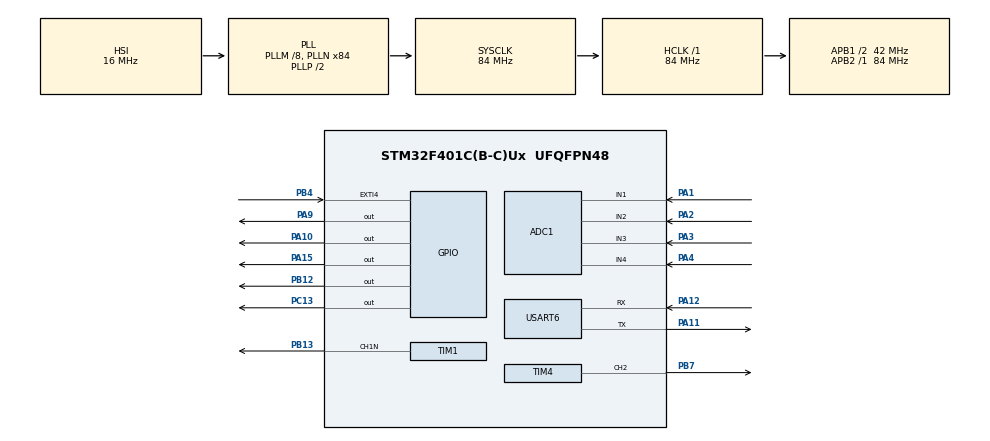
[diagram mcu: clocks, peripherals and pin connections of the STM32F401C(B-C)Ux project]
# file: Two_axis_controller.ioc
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ADC1.Channel-0\#ChannelRegularConversion=ADC_CHANNEL_1
ADC1.Channel-5\#ChannelRegularConversion=ADC_CHANNEL_2
ADC1.Channel-6\#ChannelRegularConversion=ADC_CHANNEL_3
ADC1.Channel-7\#ChannelRegularConversion=ADC_CHANNEL_4
ADC1.ContinuousConvMode=ENABLE
ADC1.DMAContinuousRequests=ENABLE
ADC1.DiscontinuousConvMode=DISABLE
ADC1.InjNumberOfConversion=0
ADC1.NbrOfConversion=4
ADC1.NbrOfConversionFlag=1
ADC1.Rank-0\#ChannelRegularConversion=1
ADC1.Rank-5\#ChannelRegularConversion=2
ADC1.Rank-6\#ChannelRegularConversion=3
ADC1.Rank-7\#ChannelRegularConversion=4
ADC1.SamplingTime-0\#ChannelRegularConversion=ADC_SAMPLETIME_28CYCLES
ADC1.SamplingTime-5\#ChannelRegularConversion=ADC_SAMPLETIME_28CYCLES
ADC1.SamplingTime-6\#ChannelRegularConversion=ADC_SAMPLETIME_28CYCLES
ADC1.SamplingTime-7\#ChannelRegularConversion=ADC_SAMPLETIME_28CYCLES
ADC1.ScanConvMode=ENABLE
ADC1.master=1
Dma.ADC1.0.Direction=DMA_PERIPH_TO_MEMORY
Dma.ADC1.0.FIFOMode=DMA_FIFOMODE_DISABLE
Dma.ADC1.0.Instance=DMA2_Stream0
Dma.ADC1.0.MemDataAlignment=DMA_MDATAALIGN_WORD
Dma.ADC1.0.MemInc=DMA_MINC_ENABLE
Dma.ADC1.0.Mode=DMA_CIRCULAR
Dma.ADC1.0.PeriphDataAlignment=DMA_PDATAALIGN_WORD
Dma.ADC1.0.PeriphInc=DMA_PINC_DISABLE
Dma.ADC1.0.Priority=DMA_PRIORITY_MEDIUM
Dma.Request0=ADC1
Mcu.Family=STM32F4
Mcu.Name=STM32F401C(B-C)Ux
Mcu.Package=UFQFPN48
NVIC.DMA2_Stream0_IRQn=true\:0\:0\:false\:false\:true\:false\:true\:true
NVIC.EXTI4_IRQn=true\:1\:0\:true\:false\:true\:true\:true\:true
NVIC.PriorityGroup=NVIC_PRIORITYGROUP_4
NVIC.TIM3_IRQn=true\:1\:0\:true\:false\:true\:true\:true\:true
NVIC.TIM5_IRQn=true\:0\:0\:false\:false\:true\:true\:true\:true
NVIC.USART6_IRQn=true\:0\:0\:false\:false\:true\:true\:true\:true
PA0-WKUP.Mode=SYS_WakeUp0
PA0-WKUP.Signal=SYS_WKUP
PA1.Signal=ADCx_IN1
PA10.Signal=GPIO_Output
PA11.Mode=Asynchronous
PA11.Signal=USART6_TX
PA12.Mode=Asynchronous
PA12.Signal=USART6_RX
PA13.Mode=Trace_Asynchronous_SW
PA13.Signal=SYS_JTMS-SWDIO
PA14.Mode=Trace_Asynchronous_SW
PA14.Signal=SYS_JTCK-SWCLK
PA15.Signal=GPIO_Output
PA2.Signal=ADCx_IN2
PA3.Signal=ADCx_IN3
PA4.Signal=ADCx_IN4
PA9.Signal=GPIO_Output
PB12.Signal=GPIO_Output
PB13.Mode=PWM Generation1 CH1N
PB13.Signal=TIM1_CH1N
PB3.Mode=Trace_Asynchronous_SW
PB3.Signal=SYS_JTDO-SWO
PB4.GPIO_ModeDefaultEXTI=GPIO_MODE_IT_FALLING
PB4.GPIO_PuPd=GPIO_PULLUP
PB4.Signal=GPXTI4
PB7.Signal=S_TIM4_CH2
PC13-ANTI_TAMP.Signal=GPIO_Output
PC14-OSC32_IN.Mode=LSE-External-Oscillator
PC14-OSC32_IN.Signal=RCC_OSC32_IN
PC15-OSC32_OUT.Mode=LSE-External-Oscillator
PC15-OSC32_OUT.Signal=RCC_OSC32_OUT
PH0\ -\ OSC_IN.Mode=HSE-External-Oscillator
PH0\ -\ OSC_IN.Signal=RCC_OSC_IN
PH1\ -\ OSC_OUT.Mode=HSE-External-Oscillator
PH1\ -\ OSC_OUT.Signal=RCC_OSC_OUT
ProjectManager.HeapSize=0x200
ProjectManager.StackSize=0x400
ProjectManager.TargetToolchain=STM32CubeIDE
RCC.48MHZClocksFreq_Value=42000000
RCC.AHBFreq_Value=84000000
RCC.APB1CLKDivider=RCC_HCLK_DIV2
RCC.APB1Freq_Value=42000000
RCC.APB1TimFreq_Value=84000000
RCC.APB2Freq_Value=84000000
RCC.APB2TimFreq_Value=84000000
RCC.CortexFreq_Value=84000000
RCC.HCLKFreq_Value=84000000
RCC.HSE_VALUE=25000000
RCC.HSI_VALUE=16000000
RCC.PLLM=8
RCC.PLLN=84
RCC.SYSCLKFreq_VALUE=84000000
RCC.SYSCLKSource=RCC_SYSCLKSOURCE_PLLCLK
RCC.VCOOutputFreq_Value=168000000
SH.ADCx_IN1.0=ADC1_IN1,IN1
SH.ADCx_IN2.0=ADC1_IN2,IN2
SH.ADCx_IN3.0=ADC1_IN3,IN3
SH.ADCx_IN4.0=ADC1_IN4,IN4
SH.S_TIM4_CH2.0=TIM4_CH2,PWM Generation2 CH2
TIM1.Channel-PWM\ Generation1\ CH1N=TIM_CHANNEL_1
TIM1.OCNPolarity_1=TIM_OCNPOLARITY_LOW
TIM1.Period=839
TIM1.Prescaler=3
TIM3.Period=999
TIM3.Prescaler=8399
TIM4.Channel-PWM\ Generation2\ CH2=TIM_CHANNEL_2
TIM4.OCPolarity_2=TIM_OCPOLARITY_LOW
TIM4.Period=839
TIM4.Prescaler=3
TIM5.Period=221
TIM5.Prescaler=83
USART6.VirtualMode=VM_ASYNC
VP_TIM3_VS_ClockSourceINT.Mode=Internal
VP_TIM5_VS_ClockSourceINT.Mode=Internal
board=custom

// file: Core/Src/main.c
/* USER CODE BEGIN Header */
/**
  ******************************************************************************
  * @file           : main.c
  * @brief          : Main program body
  ******************************************************************************
  * @attention
  *
  * Copyright (c) 2025 STMicroelectronics.
  * All rights reserved.
  *
  * This software is licensed under terms that can be found in the LICENSE file
  * in the root directory of this software component.
  * If no LICENSE file comes with this software, it is provided AS-IS.
  *
  ******************************************************************************
  */
/* USER CODE END Header */
#include "main.h"
#include "adc.h"
#include "dma.h"
#include "tim.h"
#include "usart.h"
#include "gpio.h"

/* USER CODE BEGIN Includes */
#include <stdbool.h>
#include <stdint.h>
#include <stdio.h>
#include <math.h>
#define NUM_SAMPLES 20

/* USER CODE END Includes */

/* USER CODE BEGIN PV */
typedef struct {
    float kp;
    float ki;
    float kd;
    float prev_error;
    float integral;
} PID_Controller;

// Структура состояния корректирующего устройства
typedef struct {
    float e1; // e[n-1]
    float e2; // e[n-2]
    float y1; // y[n-1]
    float y2; // y[n-2]
} CorrectorState;

// Структура коэффициентов корректирующего устройства
typedef struct {
    float b0, b1, b2;
    float a1, a2;
} CorrectorCoefficients;

// �?нициализация коэффициентов корректирующего устройства
static inline void Corrector_Init(CorrectorCoefficients *coeffs) {
    coeffs->b0 = 1811.0f;
    coeffs->b1 = -3529.0f;
    coeffs->b2 = 1719.0f;
    coeffs->a1 = -1.188f;
    coeffs->a2 = 0.1896f;
}

PID_Controller pid1 = {1.0f, 0.001f, 1.0f, 0, 0}; // Тюнинг подбирается экспериментально
PID_Controller pid2 = {11.5f, 0.004f, 3.7f, 0, 0};

volatile bool input_mode = false;
uint32_t adc_value_ch2 = 0;
volatile uint32_t adc_values[4] = {0,0,0,0};
float smooth_adc[4] = {0};
volatile uint32_t adc_raw_avg[4] = {0};  // усреднённые значения
volatile uint32_t last_button_press = 0;
float angle_pot1, angle_pot2;
float angle_enc1, angle_enc2;
volatile float sine_angle_2 = 90;
volatile float step_angle_2 = 90;
volatile float step_time = 0;
volatile float pwm1 = 0;
volatile float pwm2 = 0;
char uart_buf[50];
volatile float tim5_itr = 0;
volatile uint8_t busy = 0;

/* USER CODE END PV */

void SystemClock_Config(void);

/* USER CODE BEGIN 0 */

float GenerateSineValue(float freq_hz, float min_val, float max_val)
{
    static float time_ms = 0.0f;

    // Амплитуда и смещение
    float amplitude = (max_val - min_val) / 2.0f;
    float offset = (max_val + min_val) / 2.0f;

    // Вычисление значения
    float radians = 2.0f * M_PI * freq_hz * (time_ms / 1000.0f);
    float sine_value = offset + amplitude * sinf(radians);

    // Увеличение времени
    time_ms += 1.0f;
    if (time_ms >= 1000.0f / freq_hz) {
        time_ms -= 1000.0f / freq_hz;  // сброс по периоду
    }

    return sine_value;
}

float GenerateStepValue(float time, float min_val, float max_val)
{

    float step_value = min_val;

    if (step_time >= 0 && step_time <= time/2){
    	step_value = min_val;
    }
    else{
    	step_value = max_val;
    }

    // Увеличение времени
    step_time += 1.0f;
    if (step_time >= time) {
    	step_time = 0;
    }

    return step_value;
}

float PID_Compute(PID_Controller* pid, float setpoint, float measured)
{
    float error = setpoint - measured;

    pid->integral += error;
    float derivative = error - pid->prev_error;
    pid->prev_error = error;

    float output = pid->kp * error + pid->ki * pid->integral + pid->kd * derivative;

    return output;
}

// Ограничение значения в диапазоне [min, max]
static inline float Clamp(float value, float min, float max) {
    if (value > max) return max;
    if (value < min) return min;
    return value;
}

// Функция обновления корректирующего устройства
static inline int16_t Corrector_Update(CorrectorCoefficients *coeffs, CorrectorState *state, float target_angle, float current_angle) {
    float error = target_angle - current_angle;

    if (error > -0.5f && error < 0.5f) {
        return 0; // Игнорируем малую ошибку, PWM = 0
    }

    // Вычисление выхода
    float output = (coeffs->b0 * error)
                 + (coeffs->b1 * state->e1)
                 + (coeffs->b2 * state->e2)
                 - (coeffs->a1 * state->y1)
                 - (coeffs->a2 * state->y2);

    // Ограничение выхода
    output = Clamp(output, -839.0f, 839.0f);

    // Обновление состояния
    state->e2 = state->e1;
    state->e1 = error;
    state->y2 = state->y1;
    state->y1 = output;

    // Возврат значения в целочисленном формате для Ш�?М
    return (int16_t)output;
}

// Мотор 1: PWM на PB13, направление на PA9
void SetDirection1(bool cw)
{
	cw = !cw;
    HAL_GPIO_WritePin(GPIOA, GPIO_PIN_9, cw ? GPIO_PIN_SET : GPIO_PIN_RESET);
}

// Мотор 2: PWM на PB7, направление на PA10
void SetDirection2(bool cw)
{
    HAL_GPIO_WritePin(GPIOA, GPIO_PIN_10, cw ? GPIO_PIN_SET : GPIO_PIN_RESET);
}

// Установка Ш�?М — ожидается значение от 0 до 839
void PWM_Motor1(uint16_t pwm_value)
{
    if (pwm_value > 839) pwm_value = 839;
    __HAL_TIM_SET_COMPARE(&htim1, TIM_CHANNEL_1, pwm_value); // таймер для PB13
}

void PWM_Motor2(uint16_t pwm_value)
{
    if (pwm_value > 839) pwm_value = 839;
    __HAL_TIM_SET_COMPARE(&htim4, TIM_CHANNEL_2, pwm_value); // таймер для PB7
}

void ControlMotor1(float target_angle)
{
    pwm1 = PID_Compute(&pid1, target_angle, angle_enc2);

}

void ControlMotor2(float target_angle)
{
    pwm2 = PID_Compute(&pid2, target_angle, angle_enc1);

}

void FilterADC(volatile uint32_t adc_input[4])
{
    static uint32_t adc_sum[4] = {0};
    static uint8_t sample_count = 0;

    for (int i = 0; i < 4; i++) {
        adc_sum[i] += adc_input[i];
    }

    sample_count++;

    if (sample_count >= NUM_SAMPLES) {
        for (int i = 0; i < 4; i++) {
            adc_raw_avg[i] = adc_sum[i] / NUM_SAMPLES;
            adc_sum[i] = 0; // сброс суммы
        }
        sample_count = 0;
    }
}

// Вход: adc_values[0] – [3]
// Выход: 4 угла в градусах
void ConvertADCToAngles(uint32_t adc_values[4], float* angle_pot1, float* angle_pot2,
                        float* angle_enc1, float* angle_enc2)
{
    // ——— Энкодер 1: диапазон 3885 шагов ≈ 337°
    const uint16_t ENC1_ZERO_POS = 2970-15;
    const uint16_t ENC1_STEPS = 3835+15;
    const float ENC1_MAX_DEGREES = 337.0f;

    // ——— Энкодер 2: диапазон 2088 шагов ≈ 183°
    const uint16_t ENC2_ZERO_POS = 4060-15;
    const uint16_t ENC2_STEPS = 2088+15;
    const float ENC2_MAX_DEGREES = 183.0f;

    // ——— Энкодер 1
    uint32_t raw_enc1 = adc_values[2];
    int32_t diff1 = (int32_t)raw_enc1 - ENC1_ZERO_POS;
    if (diff1 < 0) diff1 += 4096;
    if (diff1 > ENC1_STEPS) diff1 = ENC1_STEPS;  // ограничим
    *angle_enc1 = ((float)diff1 / ENC1_STEPS) * ENC1_MAX_DEGREES;

    // ——— Энкодер 2
    uint32_t raw_enc2 = adc_values[3];
    int32_t diff2 = (int32_t)raw_enc2 - ENC2_ZERO_POS;
    if (diff2 < 0) diff2 += 4096;
    if (diff2 > ENC2_STEPS) diff2 = ENC2_STEPS;
    *angle_enc2 = ((float)diff2 / ENC2_STEPS) * ENC2_MAX_DEGREES;

    // ——— Потенциометры по масштабу энкодеров
    float angle_pot1_tmp = adc_values[0] * (ENC1_MAX_DEGREES / 4095.0f);
	float angle_pot2_tmp = adc_values[1] * (ENC2_MAX_DEGREES / 4095.0f);

    if (angle_pot1_tmp < 10.0f){
    	*angle_pot1 = 10.0f;
    }
    else if (angle_pot1_tmp > 330.0f){
    	*angle_pot1 = 330.0f;
    }
    else *angle_pot1 = angle_pot1_tmp;

    if (angle_pot2_tmp < 8.0f){
        	*angle_pot2 = 8.0f;
    }
    else if (angle_pot2_tmp > 179.0f){
        	*angle_pot2 = 179.0f;
    }
    else *angle_pot2 = angle_pot2_tmp;

}

void HAL_GPIO_EXTI_Callback(uint16_t GPIO_Pin)
{

	if (GPIO_Pin == GPIO_PIN_4)
	  {
	    uint32_t current_time = HAL_GetTick();

	    if (current_time - last_button_press > 200) // 100 мс защита от дребезга
	    {
	    	input_mode = !input_mode;
	      last_button_press = current_time;
	    }
	  }

}

void HAL_TIM_PeriodElapsedCallback(TIM_HandleTypeDef *htim)
{

    if (htim->Instance == TIM5) {
    	tim5_itr = tim5_itr + 1;
    	if (pwm1 >= 0) {
    	        SetDirection1(true);  // CW
    	    } else {
    	        SetDirection1(false); // CCW
    	        pwm1 = -pwm1;
    	    }

    	    if (pwm1 > 839.0f) pwm1 = 839.0f;
    	    PWM_Motor1((uint16_t)pwm1);

    	    if (pwm2 >= 0) {
    	            SetDirection2(true);  // CW
    	        } else {
    	            SetDirection2(false); // CCW
    	            pwm2 = -pwm2;
    	        }

    	        if (pwm2 > 839.0f) pwm2 = 839.0f;
    	        PWM_Motor2((uint16_t)pwm2);

    }

    if (htim->Instance == TIM3) {
        	sine_angle_2 = GenerateSineValue(9.0f, 20.0f, 180.0f);
        	step_angle_2 = GenerateStepValue(55.0f, 90.0f, 180.0f);
        }
}

float ReadAngleMotor2(void) {
    return angle_enc1;
}

void CommandMotor2(float pwm) {
    if (pwm >= 0) {
        SetDirection2(true);
    } else {
        SetDirection2(false);
        pwm = -pwm;
    }
    PWM_Motor2((uint16_t)pwm);
}

void send_data(float v1, float v2) {
    int len = snprintf(uart_buf, sizeof(uart_buf), "%.3f,%.3f\r\n", v1, v2);
    HAL_UART_Transmit(&huart6, (uint8_t*)uart_buf, len, HAL_MAX_DELAY);
}

void send_data_non_blocking(float v1, float v2) {
    static char buf[50];

    if (!busy) {
        int len = snprintf(buf, sizeof(buf), "%.2f,%.2f\r\n", v1, v2);
        if (HAL_UART_Transmit_IT(&huart6, (uint8_t*)buf, len) == HAL_OK) {
            busy = 1;
        }
    }
}

// В прерывании окончания передачи:
void HAL_UART_TxCpltCallback(UART_HandleTypeDef *huart) {
    if (huart->Instance == USART6) {
        busy = 0;
    }
}

/* USER CODE END 0 */

int main(void)
{

  /* MCU Configuration--------------------------------------------------------*/

  /* Reset of all peripherals, Initializes the Flash interface and the Systick. */
  HAL_Init();

  /* Configure the system clock */
  SystemClock_Config();

  /* Initialize all configured peripherals */
  MX_GPIO_Init();
  MX_DMA_Init();
  MX_ADC1_Init();
  MX_TIM1_Init();
  MX_TIM4_Init();
  MX_TIM3_Init();
  MX_USART6_UART_Init();
  MX_TIM5_Init();
  /* USER CODE BEGIN 2 */
  HAL_TIM_PWM_Start(&htim4, TIM_CHANNEL_2);
  HAL_TIMEx_PWMN_Start(&htim1, TIM_CHANNEL_1);
  HAL_ADC_Start_DMA(&hadc1, (uint32_t*)adc_values, 4);
  __HAL_TIM_SET_COMPARE(&htim4, TIM_CHANNEL_2, 0);
  __HAL_TIM_SET_COMPARE(&htim1, TIM_CHANNEL_1, 0);
  HAL_TIM_Base_Start_IT(&htim3);
  HAL_TIM_Base_Start_IT(&htim5);

  CorrectorState corrector_state1 = {0};
  CorrectorState corrector_state2 = {0};
  CorrectorCoefficients corrector_coeffs;

  Corrector_Init(&corrector_coeffs);

  //FilterADC(adc_values);
  //ConvertADCToAngles(adc_raw_avg, &angle_pot1, &angle_pot2, &angle_enc1, &angle_enc2);
  //AutoTunePID(&pid2, ReadAngleMotor2, CommandMotor2);
  /* USER CODE END 2 */

  /* Infinite loop */
  while (1)
  {

    /* USER CODE BEGIN 3 */
	  FilterADC(adc_values);
	  ConvertADCToAngles(adc_raw_avg, &angle_pot1, &angle_pot2, &angle_enc1, &angle_enc2);

	  if (input_mode) // Если true то используем потенциометры для управления
	      {
	        HAL_GPIO_WritePin(GPIOB, GPIO_PIN_12, GPIO_PIN_SET);   // Включить LED PB12
	        HAL_GPIO_WritePin(GPIOA, GPIO_PIN_15, GPIO_PIN_RESET);  // Выключить LED PB3
	        //ControlMotor2(angle_pot1);
	        //ControlMotor1(angle_pot2);
	        pwm2 = Corrector_Update(&corrector_coeffs, &corrector_state2, angle_pot1, angle_enc1);
	        pwm1 = Corrector_Update(&corrector_coeffs, &corrector_state1, sine_angle_2, angle_enc1);
	        //send_data_non_blocking(sine_angle_2, angle_enc1);
	        //PWM_Motor2(500);
	        //SetDirection2(false); //против часовой

	      }
	      else // Если false то используем заготовленный сигнал sin
	      {
	        HAL_GPIO_WritePin(GPIOB, GPIO_PIN_12, GPIO_PIN_RESET); // Выключить LED PB12
	        HAL_GPIO_WritePin(GPIOA, GPIO_PIN_15, GPIO_PIN_SET);    // Включить LED PB3
	        ControlMotor2(step_angle_2);
	        //pwm2 = Corrector_Update(&corrector_coeffs, &corrector_state2, sine_angle_2, angle_enc1);
	        //ControlMotor2(sine_angle_2);
	        send_data_non_blocking(step_angle_2, angle_enc1);
	        //PWM_Motor2(500);
	        //SetDirection2(true);
	      }

  }
  /* USER CODE END 3 */
}

void SystemClock_Config(void)
{
  RCC_OscInitTypeDef RCC_OscInitStruct = {0};
  RCC_ClkInitTypeDef RCC_ClkInitStruct = {0};

  /** Configure the main internal regulator output voltage
  */
  __HAL_RCC_PWR_CLK_ENABLE();
  __HAL_PWR_VOLTAGESCALING_CONFIG(PWR_REGULATOR_VOLTAGE_SCALE2);

  /** Initializes the RCC Oscillators according to the specified parameters
  * in the RCC_OscInitTypeDef structure.
  */
  RCC_OscInitStruct.OscillatorType = RCC_OSCILLATORTYPE_HSI;
  RCC_OscInitStruct.HSIState = RCC_HSI_ON;
  RCC_OscInitStruct.HSICalibrationValue = RCC_HSICALIBRATION_DEFAULT;
  RCC_OscInitStruct.PLL.PLLState = RCC_PLL_ON;
  RCC_OscInitStruct.PLL.PLLSource = RCC_PLLSOURCE_HSI;
  RCC_OscInitStruct.PLL.PLLM = 8;
  RCC_OscInitStruct.PLL.PLLN = 84;
  RCC_OscInitStruct.PLL.PLLP = RCC_PLLP_DIV2;
  RCC_OscInitStruct.PLL.PLLQ = 4;
  if (HAL_RCC_OscConfig(&RCC_OscInitStruct) != HAL_OK)
  {
    Error_Handler();
  }

  /** Initializes the CPU, AHB and APB buses clocks
  */
  RCC_ClkInitStruct.ClockType = RCC_CLOCKTYPE_HCLK|RCC_CLOCKTYPE_SYSCLK
                              |RCC_CLOCKTYPE_PCLK1|RCC_CLOCKTYPE_PCLK2;
  RCC_ClkInitStruct.SYSCLKSource = RCC_SYSCLKSOURCE_PLLCLK;
  RCC_ClkInitStruct.AHBCLKDivider = RCC_SYSCLK_DIV1;
  RCC_ClkInitStruct.APB1CLKDivider = RCC_HCLK_DIV2;
  RCC_ClkInitStruct.APB2CLKDivider = RCC_HCLK_DIV1;

  if (HAL_RCC_ClockConfig(&RCC_ClkInitStruct, FLASH_LATENCY_2) != HAL_OK)
  {
    Error_Handler();
  }
}

void Error_Handler(void)
{
  __disable_irq();
  while (1)
  {
  }
}
